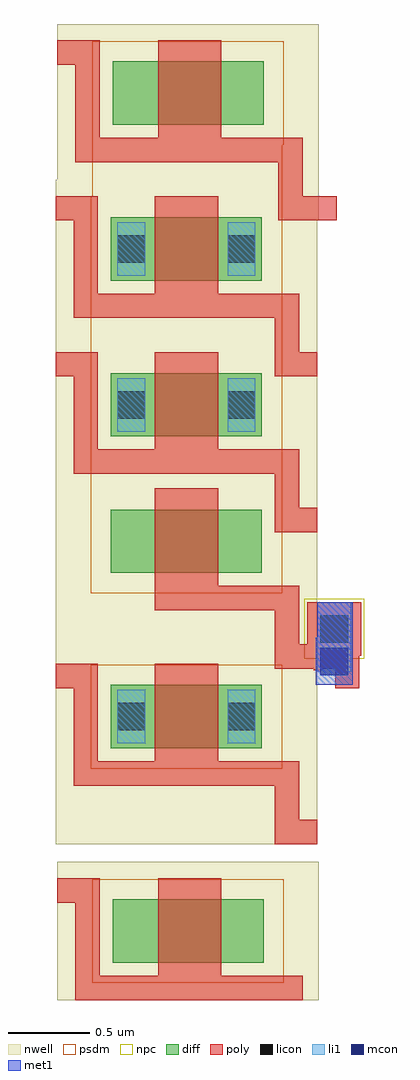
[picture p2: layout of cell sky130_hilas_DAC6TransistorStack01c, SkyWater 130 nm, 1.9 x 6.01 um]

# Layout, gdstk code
import gdstk
lib = gdstk.Library(unit=1e-6, precision=1e-09)
def R(c, l, rs):  # rectangles x0, y0, x1, y1
    for r in rs: c.add(gdstk.rectangle(r[:2], r[2:], *l))
nwell = (64, 20)
diff = (65, 20)
poly = (66, 20)
licon = (66, 44)
li1 = (67, 20)
mcon = (67, 44)
met1 = (68, 20)
psdm = (94, 20)
npc = (95, 20)

sky130_hilas_pfetdevice0 = lib.new_cell('sky130_hilas_pFETdevice01a')
R(sky130_hilas_pfetdevice0, nwell, [(0,0,1.61,0.85)])
R(sky130_hilas_pfetdevice0, diff, [(0.34,0.23,1.27,0.62)])
R(sky130_hilas_pfetdevice0, poly, [(0.11,0,1.51,0.15), (0.11,0.15,0.26,0.6), (0.62,0.15,1.01,0.75), (0,0.6,0.26,0.75)])
R(sky130_hilas_pfetdevice0, psdm, [(0.215,0.105,1.395,0.745)])

c_sky130_hilas_pfetdevice0 = lib.new_cell('sky130_hilas_pFETdevice01aa')
R(c_sky130_hilas_pfetdevice0, nwell, [(0,0,1.61,1.21)])
R(c_sky130_hilas_pfetdevice0, diff, [(0.34,0.59,1.27,0.98)])
R(c_sky130_hilas_pfetdevice0, poly, [(1.36,0,1.72,0.15), (1.36,0.15,1.51,0.36), (0.11,0.36,1.51,0.51), (0.11,0.51,0.26,0.96), (0.62,0.51,1.01,1.11), (0,0.96,0.26,1.11)])
R(c_sky130_hilas_pfetdevice0, psdm, [(0.215,0.465,1.395,1.105)])

c_sky130_hilas_pfetdevice0_ = lib.new_cell('sky130_hilas_pFETdevice01')
R(c_sky130_hilas_pfetdevice0_, nwell, [(0,0,1.61,1.21)])
R(c_sky130_hilas_pfetdevice0_, diff, [(0.34,0.59,1.27,0.98)])
R(c_sky130_hilas_pfetdevice0_, poly, [(1.35,0,1.61,0.15), (1.35,0.15,1.5,0.36), (0.11,0.36,1.5,0.51), (0.11,0.51,0.26,0.96), (0.61,0.51,1,1.11), (0,0.96,0.26,1.11)])
R(c_sky130_hilas_pfetdevice0_, licon, [(0.38,0.7,0.55,0.87), (1.06,0.7,1.23,0.87)])
R(c_sky130_hilas_pfetdevice0_, li1, [(0.38,0.62,0.55,0.95), (1.06,0.62,1.23,0.95)])
R(c_sky130_hilas_pfetdevice0_, psdm, [(0.215,0.465,1.395,1.105)])

sky130_hilas_poly2m1 = lib.new_cell('sky130_hilas_poly2m1')
R(sky130_hilas_poly2m1, poly, [(0,0.18,0.33,0.51)])
R(sky130_hilas_poly2m1, licon, [(0.08,0.26,0.25,0.43)])
R(sky130_hilas_poly2m1, li1, [(0.08,0.06,0.25,0.08), (0.06,0.08,0.27,0.51)])
R(sky130_hilas_poly2m1, mcon, [(0.08,0.06,0.25,0.23)])
R(sky130_hilas_poly2m1, met1, [(0.05,0,0.28,0.29), (0.06,0.29,0.28,0.51)])
R(sky130_hilas_poly2m1, npc, [(-0.02,0.16,0.35,0.53)])

c_sky130_hilas_pfetdevice0__ = lib.new_cell('sky130_hilas_pFETdevice01b')
R(c_sky130_hilas_pfetdevice0__, nwell, [(0,0.12,1.61,1.33)])
R(c_sky130_hilas_pfetdevice0__, diff, [(0.34,0.71,1.27,1.1)])
R(c_sky130_hilas_pfetdevice0__, poly, [(1.72,0,1.87,0.12), (1.59,0.11,1.64,0.12), (1.35,0.12,1.87,0.27), (1.35,0.27,1.5,0.48), (0.61,0.48,1.5,0.63), (0.61,0.63,1,1.23)])
R(c_sky130_hilas_pfetdevice0__, psdm, [(0.215,0.585,1.395,1.225)])
c_sky130_hilas_pfetdevice0__.add(gdstk.Reference(sky130_hilas_poly2m1, (1.55,0.02)))

sky130_hilas_dac6transis = lib.new_cell('sky130_hilas_DAC6TransistorStack01c')
R(sky130_hilas_dac6transis, psdm, [(0.395,3.365,1.575,3.565), (0.395,4.205,1.575,4.525), (0.405,5.165,1.575,5.485)])
sky130_hilas_dac6transis.add(gdstk.Reference(sky130_hilas_pfetdevice0, (0.19,0.22)))
sky130_hilas_dac6transis.add(gdstk.Reference(c_sky130_hilas_pfetdevice0, (0.19,5.02)))
sky130_hilas_dac6transis.add(gdstk.Reference(c_sky130_hilas_pfetdevice0_, (0.18,4.06)))
sky130_hilas_dac6transis.add(gdstk.Reference(c_sky130_hilas_pfetdevice0_, (0.18,3.1)))
sky130_hilas_dac6transis.add(gdstk.Reference(c_sky130_hilas_pfetdevice0_, (0.18,1.18)))
sky130_hilas_dac6transis.add(gdstk.Reference(c_sky130_hilas_pfetdevice0__, (0.18,2.14)))

lib.write_gds('sky130_hilas_DAC6TransistorStack01c.gds')
